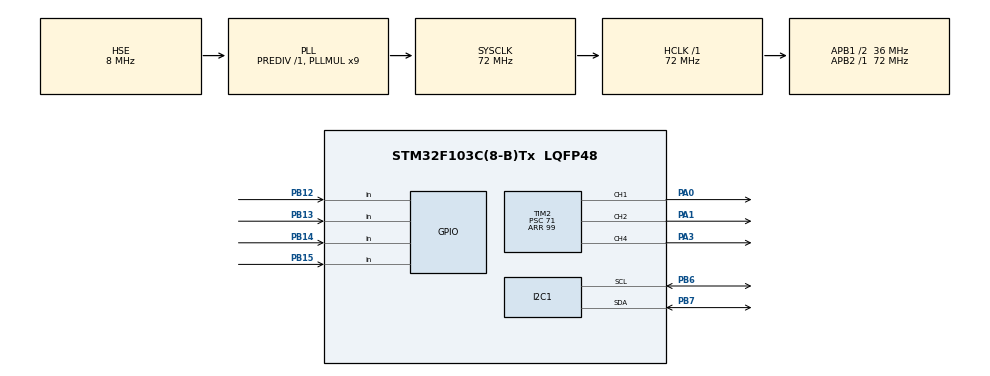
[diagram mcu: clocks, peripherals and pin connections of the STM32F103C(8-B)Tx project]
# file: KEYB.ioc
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Mcu.Family=STM32F1
Mcu.Name=STM32F103C(8-B)Tx
Mcu.Package=LQFP48
NVIC.PriorityGroup=NVIC_PRIORITYGROUP_4
PA0-WKUP.Signal=S_TIM2_CH1_ETR
PA1.Signal=S_TIM2_CH2
PA3.Signal=S_TIM2_CH4
PB12.Signal=GPIO_Input
PB13.Signal=GPIO_Input
PB14.Signal=GPIO_Input
PB15.Signal=GPIO_Input
PB6.Mode=I2C
PB6.Signal=I2C1_SCL
PB7.Mode=I2C
PB7.Signal=I2C1_SDA
PD0-OSC_IN.Mode=HSE-External-Oscillator
PD0-OSC_IN.Signal=RCC_OSC_IN
PD1-OSC_OUT.Mode=HSE-External-Oscillator
PD1-OSC_OUT.Signal=RCC_OSC_OUT
ProjectManager.HeapSize=0x200
ProjectManager.StackSize=0x400
ProjectManager.TargetToolchain=STM32CubeIDE
RCC.AHBFreq_Value=72000000
RCC.APB1CLKDivider=RCC_HCLK_DIV2
RCC.APB1Freq_Value=36000000
RCC.APB1TimFreq_Value=72000000
RCC.APB2Freq_Value=72000000
RCC.APB2TimFreq_Value=72000000
RCC.HCLKFreq_Value=72000000
RCC.PLLMUL=RCC_PLL_MUL9
RCC.PLLSourceVirtual=RCC_PLLSOURCE_HSE
RCC.SYSCLKFreq_VALUE=72000000
RCC.SYSCLKSource=RCC_SYSCLKSOURCE_PLLCLK
RCC.USBFreq_Value=72000000
SH.S_TIM2_CH1_ETR.0=TIM2_CH1,PWM Generation1 CH1
SH.S_TIM2_CH2.0=TIM2_CH2,PWM Generation2 CH2
SH.S_TIM2_CH4.0=TIM2_CH4,PWM Generation4 CH4
TIM2.Channel-PWM\ Generation1\ CH1=TIM_CHANNEL_1
TIM2.Channel-PWM\ Generation2\ CH2=TIM_CHANNEL_2
TIM2.Channel-PWM\ Generation4\ CH4=TIM_CHANNEL_4
TIM2.OCMode_PWM-PWM\ Generation2\ CH2=TIM_OCMODE_PWM2
TIM2.Period=99
TIM2.Prescaler=71
VP_TIM2_VS_ClockSourceINT.Mode=Internal
board=custom

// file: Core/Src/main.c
/* USER CODE BEGIN Header */
/**
  ******************************************************************************
  * @file           : main.c
  * @brief          : Main program body
  ******************************************************************************
  * @attention
  *
  * Copyright (c) 2025 STMicroelectronics.
  * All rights reserved.
  *
  * This software is licensed under terms that can be found in the LICENSE file
  * in the root directory of this software component.
  * If no LICENSE file comes with this software, it is provided AS-IS.
  *
  ******************************************************************************
  */
/* USER CODE END Header */
#include "main.h"

/* USER CODE BEGIN Includes */
#include "lcd_i2c.h"
/* USER CODE END Includes */

/* USER CODE BEGIN PD */

// Можно через #define, но есть возможность опрашивать динамически об изменении региста ARR
// #define PWM_MAX 99

#define KEY_1 GPIO_PIN_15
#define KEY_2 GPIO_PIN_14
#define KEY_3 GPIO_PIN_13
#define KEY_4 GPIO_PIN_12

/* USER CODE END PD */

I2C_HandleTypeDef hi2c1;

TIM_HandleTypeDef htim2;

void SystemClock_Config(void);
static void MX_GPIO_Init(void);
static void MX_TIM2_Init(void);
static void MX_I2C1_Init(void);
/* USER CODE BEGIN PFP */

//Антидребезг добавил таким образом
uint8_t read_key(void)
{
//    static uint32_t last_time = 0;
//    uint32_t now = HAL_GetTick();
//
//    if (now - last_time < 20) return 0;
//    last_time = now;

    if (HAL_GPIO_ReadPin(GPIOB, KEY_1) == GPIO_PIN_RESET) return 1;
    if (HAL_GPIO_ReadPin(GPIOB, KEY_2) == GPIO_PIN_RESET) return 2;
    if (HAL_GPIO_ReadPin(GPIOB, KEY_3) == GPIO_PIN_RESET) return 3;
    if (HAL_GPIO_ReadPin(GPIOB, KEY_4) == GPIO_PIN_RESET) return 4;

    return 0;
}

void set_push_pull_duty(uint8_t percent)
{
    if (percent > 100) percent = 100;
    uint32_t max_val = __HAL_TIM_GET_AUTORELOAD(&htim2); //опрос регистра ARR
    uint32_t val = (percent * max_val) / 100;

    __HAL_TIM_SET_COMPARE(&htim2, TIM_CHANNEL_1, val);
    __HAL_TIM_SET_COMPARE(&htim2, TIM_CHANNEL_2, max_val - val);
}

void set_led_brightness(uint8_t percent)
{
    if (percent > 100) percent = 100;
    uint32_t max_val = __HAL_TIM_GET_AUTORELOAD(&htim2);
    uint32_t val = (percent * max_val) / 100;
    __HAL_TIM_SET_COMPARE(&htim2, TIM_CHANNEL_4, val);
}

/* USER CODE END PFP */

int main(void)
{
  /* USER CODE BEGIN 1 */

//	HAL_TIM_PWM_Start(&htim2, TIM_CHANNEL_4);
//	__HAL_TIM_SET_COMPARE(&htim2, TIM_CHANNEL_4, 500);

  /* USER CODE END 1 */

  /* MCU Configuration--------------------------------------------------------*/

  /* Reset of all peripherals, Initializes the Flash interface and the Systick. */
  HAL_Init();

  /* Configure the system clock */
  SystemClock_Config();

  /* Initialize all configured peripherals */
  MX_GPIO_Init();
  MX_TIM2_Init();
  MX_I2C1_Init();
  /* USER CODE BEGIN 2 */

  //uint32_t brightness = 0;
  //uint8_t direction = 1;

  uint8_t current_duty = 10; // начальное значение
  set_push_pull_duty(current_duty);
  set_led_brightness(current_duty);

  //Ш�?М и светодиод
  HAL_TIM_PWM_Start(&htim2, TIM_CHANNEL_1);
  HAL_TIM_PWM_Start(&htim2, TIM_CHANNEL_2);
  HAL_TIM_PWM_Start(&htim2, TIM_CHANNEL_4);

//primer push-pull  set_push_pull_duty(30);
//primer yarkost    set_led_brightness(100);

  /* USER CODE END 2 */

  /* Infinite loop */
  /* USER CODE BEGIN WHILE */
  while (1)
  {

	  //Так было до клавиатуры
	  //uint8_t duty = 30; // пока оставляю, добавлю выставление значения с клавиатуры
	  //    set_push_pull_duty(duty);
	  //    set_led_brightness(duty); // светодиод отображает уровень мощности
	  //    HAL_Delay(1000);

	  //Так стало с добавлением клавиатуры
	  uint8_t key = read_key();

	      switch (key)
	      {
	          case 1: // Уменьшить скважность
	              if (current_duty < 100) {current_duty++;}
	              break;
	          case 2: // Увеличить скважность
	              if (current_duty > 0) {current_duty--;}
	              break;
	          case 3: // Установить минимум
	              current_duty = 100;
	              break;
	          case 4: // Установить максимум
	              current_duty = 0;
	              break;
	          default:
	              break;
	      }

	      set_push_pull_duty(current_duty);
	      set_led_brightness(current_duty);

	      HAL_Delay(10);

//	  if (direction)
//	      {
//	          brightness++;
//	          if (brightness >= 1000) direction = 0;
//	      }
//	      else
//	      {
//	          if (brightness > 0) brightness--;
//	          else direction = 1;
//	      }
////	      __HAL_TIM_SET_COMPARE(&htim2, TIM_CHANNEL_4, brightness);
//	      __HAL_TIM_SET_COMPARE(&htim2, TIM_CHANNEL_4, 999 - brightness);
//	      HAL_Delay(2);

    /* USER CODE END WHILE */

  }
}

void SystemClock_Config(void)
{
  RCC_OscInitTypeDef RCC_OscInitStruct = {0};
  RCC_ClkInitTypeDef RCC_ClkInitStruct = {0};

  /** Initializes the RCC Oscillators according to the specified parameters
  * in the RCC_OscInitTypeDef structure.
  */
  RCC_OscInitStruct.OscillatorType = RCC_OSCILLATORTYPE_HSE;
  RCC_OscInitStruct.HSEState = RCC_HSE_ON;
  RCC_OscInitStruct.HSEPredivValue = RCC_HSE_PREDIV_DIV1;
  RCC_OscInitStruct.HSIState = RCC_HSI_ON;
  RCC_OscInitStruct.PLL.PLLState = RCC_PLL_ON;
  RCC_OscInitStruct.PLL.PLLSource = RCC_PLLSOURCE_HSE;
  RCC_OscInitStruct.PLL.PLLMUL = RCC_PLL_MUL9;
  if (HAL_RCC_OscConfig(&RCC_OscInitStruct) != HAL_OK)
  {
    Error_Handler();
  }

  /** Initializes the CPU, AHB and APB buses clocks
  */
  RCC_ClkInitStruct.ClockType = RCC_CLOCKTYPE_HCLK|RCC_CLOCKTYPE_SYSCLK
                              |RCC_CLOCKTYPE_PCLK1|RCC_CLOCKTYPE_PCLK2;
  RCC_ClkInitStruct.SYSCLKSource = RCC_SYSCLKSOURCE_PLLCLK;
  RCC_ClkInitStruct.AHBCLKDivider = RCC_SYSCLK_DIV1;
  RCC_ClkInitStruct.APB1CLKDivider = RCC_HCLK_DIV2;
  RCC_ClkInitStruct.APB2CLKDivider = RCC_HCLK_DIV1;

  if (HAL_RCC_ClockConfig(&RCC_ClkInitStruct, FLASH_LATENCY_2) != HAL_OK)
  {
    Error_Handler();
  }
}

static void MX_I2C1_Init(void)
{

  hi2c1.Instance = I2C1;
  hi2c1.Init.ClockSpeed = 100000;
  hi2c1.Init.DutyCycle = I2C_DUTYCYCLE_2;
  hi2c1.Init.OwnAddress1 = 0;
  hi2c1.Init.AddressingMode = I2C_ADDRESSINGMODE_7BIT;
  hi2c1.Init.DualAddressMode = I2C_DUALADDRESS_DISABLE;
  hi2c1.Init.OwnAddress2 = 0;
  hi2c1.Init.GeneralCallMode = I2C_GENERALCALL_DISABLE;
  hi2c1.Init.NoStretchMode = I2C_NOSTRETCH_DISABLE;
  if (HAL_I2C_Init(&hi2c1) != HAL_OK)
  {
    Error_Handler();
  }

}

static void MX_TIM2_Init(void)
{

  TIM_ClockConfigTypeDef sClockSourceConfig = {0};
  TIM_MasterConfigTypeDef sMasterConfig = {0};
  TIM_OC_InitTypeDef sConfigOC = {0};

  htim2.Instance = TIM2;
  htim2.Init.Prescaler = 71;
  htim2.Init.CounterMode = TIM_COUNTERMODE_UP;
  htim2.Init.Period = 99;
  htim2.Init.ClockDivision = TIM_CLOCKDIVISION_DIV1;
  htim2.Init.AutoReloadPreload = TIM_AUTORELOAD_PRELOAD_DISABLE;
  if (HAL_TIM_Base_Init(&htim2) != HAL_OK)
  {
    Error_Handler();
  }
  sClockSourceConfig.ClockSource = TIM_CLOCKSOURCE_INTERNAL;
  if (HAL_TIM_ConfigClockSource(&htim2, &sClockSourceConfig) != HAL_OK)
  {
    Error_Handler();
  }
  if (HAL_TIM_PWM_Init(&htim2) != HAL_OK)
  {
    Error_Handler();
  }
  sMasterConfig.MasterOutputTrigger = TIM_TRGO_RESET;
  sMasterConfig.MasterSlaveMode = TIM_MASTERSLAVEMODE_DISABLE;
  if (HAL_TIMEx_MasterConfigSynchronization(&htim2, &sMasterConfig) != HAL_OK)
  {
    Error_Handler();
  }
  sConfigOC.OCMode = TIM_OCMODE_PWM1;
  sConfigOC.Pulse = 0;
  sConfigOC.OCPolarity = TIM_OCPOLARITY_HIGH;
  sConfigOC.OCFastMode = TIM_OCFAST_DISABLE;
  if (HAL_TIM_PWM_ConfigChannel(&htim2, &sConfigOC, TIM_CHANNEL_1) != HAL_OK)
  {
    Error_Handler();
  }
  sConfigOC.OCMode = TIM_OCMODE_PWM2;
  if (HAL_TIM_PWM_ConfigChannel(&htim2, &sConfigOC, TIM_CHANNEL_2) != HAL_OK)
  {
    Error_Handler();
  }
  sConfigOC.OCMode = TIM_OCMODE_PWM1;
  if (HAL_TIM_PWM_ConfigChannel(&htim2, &sConfigOC, TIM_CHANNEL_4) != HAL_OK)
  {
    Error_Handler();
  }
  HAL_TIM_MspPostInit(&htim2);

}

static void MX_GPIO_Init(void)
{
  GPIO_InitTypeDef GPIO_InitStruct = {0};

  /* GPIO Ports Clock Enable */
  __HAL_RCC_GPIOD_CLK_ENABLE();
  __HAL_RCC_GPIOA_CLK_ENABLE();
  __HAL_RCC_GPIOB_CLK_ENABLE();

  /*Configure GPIO pins : PB12 PB13 PB14 PB15 */
  GPIO_InitStruct.Pin = GPIO_PIN_12|GPIO_PIN_13|GPIO_PIN_14|GPIO_PIN_15;
  GPIO_InitStruct.Mode = GPIO_MODE_INPUT;
  GPIO_InitStruct.Pull = GPIO_NOPULL;
  HAL_GPIO_Init(GPIOB, &GPIO_InitStruct);

}

void Error_Handler(void)
{
  __disable_irq();
  while (1)
  {
  }
}
